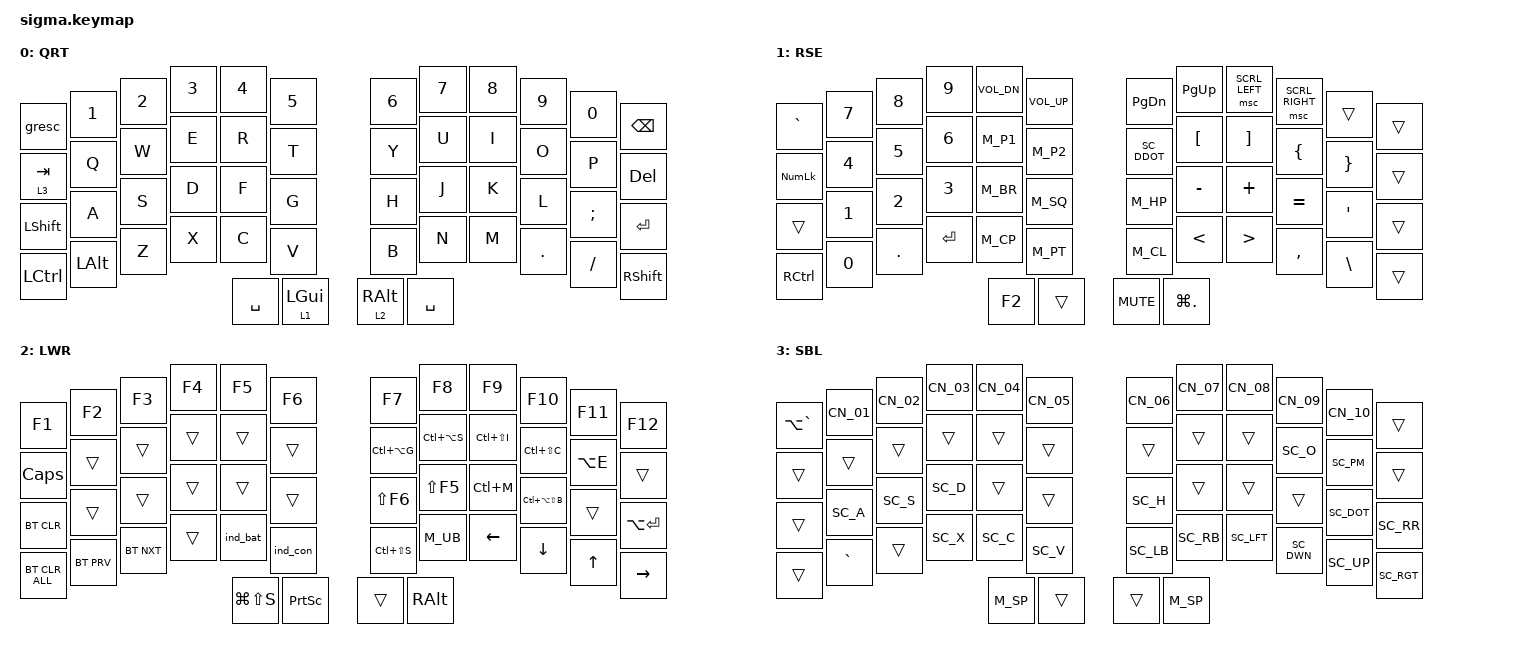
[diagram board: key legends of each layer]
#include <behaviors.dtsi>
#include <dt-bindings/zmk/bt.h>
#include <dt-bindings/zmk/keys.h>
#include <dt-bindings/zmk/pointing.h>
#include <behaviors/rgbled_widget.dtsi>

/ {
    macros {
        M_P1: M_P1 {
            compatible = "zmk,behavior-macro";
            #binding-cells = <0>;
            wait-ms = <1>;
            tap-ms = <1>;
            bindings = <&kp N &kp I &kp S &kp E &kp N &kp O &kp M &kp O &kp N &kp O &kp AT &kp N &kp A &kp V &kp E &kp R &kp DOT &kp C &kp O &kp M>;
            label = "M_P1";
        };

        M_P2: M_P2 {
            compatible = "zmk,behavior-macro";
            #binding-cells = <0>;
            wait-ms = <1>;
            tap-ms = <1>;
            bindings = <&kp LS(R) &kp E &kp LS(G) &kp E &kp N &kp LS(B) &kp O &kp T &kp N0 &kp N3>;
            label = "M_P2";
        };

        CN_01: CN_01 {
            compatible = "zmk,behavior-macro";
            #binding-cells = <0>;
            wait-ms = <1>;
            tap-ms = <1>;
            bindings = <&kp KP_NUMLOCK &kt LEFT_ALT &kp KP_NUMBER_4 &kp KP_NUMBER_3 &kp KP_NUMBER_2 &kp KP_NUMBER_3 &kp KP_NUMBER_9 &kt LEFT_ALT &kp KP_NUMLOCK>;
            label = "CN_01";
        };

        CN_02: CN_02 {
            compatible = "zmk,behavior-macro";
            #binding-cells = <0>;
            wait-ms = <1>;
            tap-ms = <1>;
            bindings = <&kp KP_NUMLOCK &kt LEFT_ALT &kp KP_NUMBER_4 &kp KP_NUMBER_3 &kp KP_NUMBER_2 &kp KP_NUMBER_4 &kp KP_NUMBER_0 &kt LEFT_ALT &kp KP_NUMLOCK>;
            label = "CN_02";
        };

        CN_03: CN_03 {
            compatible = "zmk,behavior-macro";
            #binding-cells = <0>;
            wait-ms = <1>;
            tap-ms = <1>;
            bindings = <&kp KP_NUMLOCK &kt LEFT_ALT &kp KP_NUMBER_4 &kp KP_NUMBER_3 &kp KP_NUMBER_2 &kp KP_NUMBER_4 &kp KP_NUMBER_1 &kt LEFT_ALT &kp KP_NUMLOCK>;
            label = "CN_03";
        };

        CN_04: CN_04 {
            compatible = "zmk,behavior-macro";
            #binding-cells = <0>;
            wait-ms = <1>;
            tap-ms = <1>;
            bindings = <&kp KP_NUMLOCK &kt LEFT_ALT &kp KP_NUMBER_4 &kp KP_NUMBER_3 &kp KP_NUMBER_2 &kp KP_NUMBER_4 &kp KP_NUMBER_2 &kt LEFT_ALT &kp KP_NUMLOCK>;
            label = "CN_04";
        };

        CN_05: CN_05 {
            compatible = "zmk,behavior-macro";
            #binding-cells = <0>;
            wait-ms = <1>;
            tap-ms = <1>;
            bindings = <&kp KP_NUMLOCK &kt LEFT_ALT &kp KP_NUMBER_4 &kp KP_NUMBER_3 &kp KP_NUMBER_2 &kp KP_NUMBER_4 &kp KP_NUMBER_3 &kt LEFT_ALT &kp KP_NUMLOCK>;
            label = "CN_05";
        };

        CN_06: CN_06 {
            compatible = "zmk,behavior-macro";
            #binding-cells = <0>;
            wait-ms = <1>;
            tap-ms = <1>;
            bindings = <&kp KP_NUMLOCK &kt LEFT_ALT &kp KP_NUMBER_4 &kp KP_NUMBER_3 &kp KP_NUMBER_2 &kp KP_NUMBER_4 &kp KP_NUMBER_4 &kt LEFT_ALT &kp KP_NUMLOCK>;
            label = "CN_06";
        };

        CN_07: CN_07 {
            compatible = "zmk,behavior-macro";
            #binding-cells = <0>;
            wait-ms = <1>;
            tap-ms = <1>;
            bindings = <&kp KP_NUMLOCK &kt LEFT_ALT &kp KP_NUMBER_4 &kp KP_NUMBER_3 &kp KP_NUMBER_2 &kp KP_NUMBER_4 &kp KP_NUMBER_5 &kt LEFT_ALT &kp KP_NUMLOCK>;
            label = "CN_07";
        };

        CN_08: CN_08 {
            compatible = "zmk,behavior-macro";
            #binding-cells = <0>;
            wait-ms = <1>;
            tap-ms = <1>;
            bindings = <&kp KP_NUMLOCK &kt LEFT_ALT &kp KP_NUMBER_4 &kp KP_NUMBER_3 &kp KP_NUMBER_2 &kp KP_NUMBER_4 &kp KP_NUMBER_6 &kt LEFT_ALT &kp KP_NUMLOCK>;
            label = "CN_08";
        };

        CN_09: CN_09 {
            compatible = "zmk,behavior-macro";
            #binding-cells = <0>;
            wait-ms = <1>;
            tap-ms = <1>;
            bindings = <&kp KP_NUMLOCK &kt LEFT_ALT &kp KP_NUMBER_4 &kp KP_NUMBER_3 &kp KP_NUMBER_2 &kp KP_NUMBER_4 &kp KP_NUMBER_7 &kt LEFT_ALT &kp KP_NUMLOCK>;
            label = "CN_09";
        };

        CN_10: CN_10 {
            compatible = "zmk,behavior-macro";
            #binding-cells = <0>;
            wait-ms = <1>;
            tap-ms = <1>;
            bindings = <&kp KP_NUMLOCK &kt LEFT_ALT &kp KP_NUMBER_4 &kp KP_NUMBER_3 &kp KP_NUMBER_2 &kp KP_NUMBER_4 &kp KP_NUMBER_8 &kt LEFT_ALT &kp KP_NUMLOCK>;
            label = "CN_10";
        };

        M_BR: M_BR {
            compatible = "zmk,behavior-macro";
            #binding-cells = <0>;
            wait-ms = <1>;
            tap-ms = <1>;
            bindings = <&kp LPAR &kp RPAR &kp LEFT>;
            label = "M_BR";
        };

        M_SQ: M_SQ {
            compatible = "zmk,behavior-macro";
            #binding-cells = <0>;
            wait-ms = <1>;
            tap-ms = <1>;
            bindings = <&kp LBKT &kp RBKT &kp LEFT>;
            label = "M_SQ";
        };

        M_HP: M_HP {
            compatible = "zmk,behavior-macro";
            #binding-cells = <0>;
            wait-ms = <1>;
            tap-ms = <1>;
            bindings = <&kp SPACE &kp MINUS &kp SPACE>;
            label = "M_HP";
        };

        M_CL: M_CL {
            compatible = "zmk,behavior-macro";
            #binding-cells = <0>;
            wait-ms = <1>;
            tap-ms = <1>;
            bindings = <&kp SPACE &kp COLON &kp SPACE>;
            label = "M_CL";
        };

        M_CP: M_CP {
            compatible = "zmk,behavior-macro";
            #binding-cells = <0>;
            wait-ms = <1>;
            tap-ms = <1>;
            bindings = <&kp F2 &kt LC(C) &kp ESCAPE>;
            label = "M_CP";
        };

        M_PT: M_PT {
            compatible = "zmk,behavior-macro";
            #binding-cells = <0>;
            wait-ms = <1>;
            tap-ms = <1>;
            bindings = <&kp F2 &kp LC(V) &kp ENTER>;
            label = "M_PT";
        };

        M_UB: M_UB {
            compatible = "zmk,behavior-macro";
            #binding-cells = <0>;
            wait-ms = <1>;
            tap-ms = <1>;
            bindings = <&kp RIGHT &kp LS(MINUS)>;
            label = "M_UB";
        };

        M_SP: M_SP {
            compatible = "zmk,behavior-macro";
            #binding-cells = <0>;
            wait-ms = <1>;
            tap-ms = <1>;
            bindings = <&kp SPACE &kp SPACE &kp SPACE &kp SPACE>;
            label = "M_SP";
        };

        SC_A: SC_A {
            compatible = "zmk,behavior-macro";
            #binding-cells = <0>;
            wait-ms = <1>;
            tap-ms = <1>;
            bindings = <&kp KP_NUMLOCK &kt LEFT_ALT &kp KP_NUMBER_0 &kp KP_NUMBER_1 &kp KP_NUMBER_9 &kp KP_NUMBER_7 &kt LEFT_ALT &kp KP_NUMLOCK>;
            label = "SC_A";
        };

        SC_S: SC_S {
            compatible = "zmk,behavior-macro";
            #binding-cells = <0>;
            wait-ms = <1>;
            tap-ms = <1>;
            bindings = <&kp KP_NUMLOCK &kt LEFT_ALT &kp KP_NUMBER_4 &kp KP_NUMBER_2 &kp KP_NUMBER_4 &kp KP_NUMBER_8 &kp KP_NUMBER_2 &kt LEFT_ALT &kp KP_NUMLOCK>;
            label = "SC_S";
        };

        SC_C: SC_C {
            compatible = "zmk,behavior-macro";
            #binding-cells = <0>;
            wait-ms = <1>;
            tap-ms = <1>;
            bindings = <&kp KP_NUMLOCK &kt LEFT_ALT &kp KP_NUMBER_0 &kp KP_NUMBER_1 &kp KP_NUMBER_7 &kp KP_NUMBER_6 &kt LEFT_ALT &kp KP_NUMLOCK>;
            label = "SC_C";
        };

        SC_V: SC_V {
            compatible = "zmk,behavior-macro";
            #binding-cells = <0>;
            wait-ms = <1>;
            tap-ms = <1>;
            bindings = <&kp KP_NUMLOCK &kt LEFT_ALT &kp KP_NUMBER_4 &kp KP_NUMBER_1 &kp KP_NUMBER_4 &kp KP_NUMBER_5 &kp KP_NUMBER_4 &kt LEFT_ALT &kp KP_NUMLOCK>;
            label = "SC_V";
        };

        SC_D: SC_D {
            compatible = "zmk,behavior-macro";
            #binding-cells = <0>;
            wait-ms = <1>;
            tap-ms = <1>;
            bindings = <&kp KP_NUMLOCK &kt LEFT_ALT &kp KP_NUMBER_4 &kp KP_NUMBER_2 &kp KP_NUMBER_4 &kp KP_NUMBER_3 &kp KP_NUMBER_6 &kt LEFT_ALT &kp KP_NUMLOCK>;
            label = "SC_D";
        };

        SC_R: SC_R {
            compatible = "zmk,behavior-macro";
            #binding-cells = <0>;
            wait-ms = <1>;
            tap-ms = <1>;
            bindings = <&kp KP_NUMLOCK &kt LEFT_ALT &kp KP_NUMBER_0 &kp KP_NUMBER_1 &kp KP_NUMBER_7 &kp KP_NUMBER_8 &kt LEFT_ALT &kp KP_NUMLOCK>;
            label = "SC_R";
        };

        SC_O: SC_O {
            compatible = "zmk,behavior-macro";
            #binding-cells = <0>;
            wait-ms = <1>;
            tap-ms = <1>;
            bindings = <&kp KP_NUMLOCK &kt LEFT_ALT &kp KP_NUMBER_4 &kp KP_NUMBER_2 &kp KP_NUMBER_4 &kp KP_NUMBER_5 &kp KP_NUMBER_6 &kt LEFT_ALT &kp KP_NUMLOCK>;
            label = "SC_O";
        };

        SC_X: SC_X {
            compatible = "zmk,behavior-macro";
            #binding-cells = <0>;
            wait-ms = <1>;
            tap-ms = <1>;
            bindings = <&kp KP_NUMLOCK &kt LEFT_ALT &kp KP_NUMBER_4 &kp KP_NUMBER_1 &kp KP_NUMBER_4 &kp KP_NUMBER_3 &kp KP_NUMBER_2 &kt LEFT_ALT &kp KP_NUMLOCK>;
            label = "SC_X";
        };

        SC_PM: SC_PM {
            compatible = "zmk,behavior-macro";
            #binding-cells = <0>;
            wait-ms = <1>;
            tap-ms = <1>;
            bindings = <&kp KP_NUMLOCK &kt LEFT_ALT &kp KP_NUMBER_0 &kp KP_NUMBER_1 &kp KP_NUMBER_7 &kp KP_NUMBER_7 &kt LEFT_ALT &kp KP_NUMLOCK>;
            label = "SC_PM";
        };

        SC_DOT: SC_DOT {
            compatible = "zmk,behavior-macro";
            #binding-cells = <0>;
            wait-ms = <1>;
            tap-ms = <1>;
            bindings = <&kp KP_NUMLOCK &kt LEFT_ALT &kp KP_NUMBER_0 &kp KP_NUMBER_1 &kp KP_NUMBER_8 &kp KP_NUMBER_3 &kt LEFT_ALT &kp KP_NUMLOCK>;
            label = "SC_DOT";
        };

        SC_DDOT: SC_DDOT {
            compatible = "zmk,behavior-macro";
            #binding-cells = <0>;
            wait-ms = <1>;
            tap-ms = <1>;
            bindings = <&kp KP_NUMLOCK &kt LEFT_ALT &kp KP_NUMBER_0 &kp KP_NUMBER_1 &kp KP_NUMBER_3 &kp KP_NUMBER_3 &kt LEFT_ALT &kp KP_NUMLOCK>;
            label = "SC_DDOT";
        };

        SC_RR: SC_RR {
            compatible = "zmk,behavior-macro";
            #binding-cells = <0>;
            wait-ms = <1>;
            tap-ms = <1>;
            bindings = <&kp KP_NUMLOCK &kt LEFT_ALT &kp KP_NUMBER_4 &kp KP_NUMBER_1 &kp KP_NUMBER_6 &kp KP_NUMBER_3 &kp KP_NUMBER_3 &kt LEFT_ALT &kp KP_NUMLOCK>;
            label = "SC_RR";
        };

        SC_LFT: SC_LFT {
            compatible = "zmk,behavior-macro";
            #binding-cells = <0>;
            wait-ms = <1>;
            tap-ms = <1>;
            bindings = <&kp KP_NUMLOCK &kt LEFT_ALT &kp KP_NUMBER_4 &kp KP_NUMBER_1 &kp KP_NUMBER_4 &kp KP_NUMBER_4 &kp KP_NUMBER_7 &kt LEFT_ALT &kp KP_NUMLOCK>;
            label = "SC_LFT";
        };

        SC_RGT: SC_RGT {
            compatible = "zmk,behavior-macro";
            #binding-cells = <0>;
            wait-ms = <1>;
            tap-ms = <1>;
            bindings = <&kp KP_NUMLOCK &kt LEFT_ALT &kp KP_NUMBER_4 &kp KP_NUMBER_1 &kp KP_NUMBER_4 &kp KP_NUMBER_4 &kp KP_NUMBER_6 &kt LEFT_ALT &kp KP_NUMLOCK>;
            label = "SC_RGT";
        };

        SC_UP: SC_UP {
            compatible = "zmk,behavior-macro";
            #binding-cells = <0>;
            wait-ms = <1>;
            tap-ms = <1>;
            bindings = <&kp KP_NUMLOCK &kt LEFT_ALT &kp KP_NUMBER_4 &kp KP_NUMBER_1 &kp KP_NUMBER_4 &kp KP_NUMBER_4 &kp KP_NUMBER_8 &kt LEFT_ALT &kp KP_NUMLOCK>;
            label = "SC_UP";
        };

        SC_DWN: SC_DWN {
            compatible = "zmk,behavior-macro";
            #binding-cells = <0>;
            wait-ms = <1>;
            tap-ms = <1>;
            bindings = <&kp KP_NUMLOCK &kt LEFT_ALT &kp KP_NUMBER_4 &kp KP_NUMBER_1 &kp KP_NUMBER_4 &kp KP_NUMBER_4 &kp KP_NUMBER_9 &kt LEFT_ALT &kp KP_NUMLOCK>;
            label = "SC_DWN";
        };

        SC_LB: SC_LB {
            compatible = "zmk,behavior-macro";
            #binding-cells = <0>;
            wait-ms = <1>;
            tap-ms = <1>;
            bindings = <&kp KP_NUMLOCK &kt LEFT_ALT &kp KP_NUMBER_4 &kp KP_NUMBER_1 &kp KP_NUMBER_4 &kp KP_NUMBER_0 &kp KP_NUMBER_2 &kt LEFT_ALT &kp KP_NUMLOCK>;
            label = "SC_LB";
        };

        SC_RB: SC_RB {
            compatible = "zmk,behavior-macro";
            #binding-cells = <0>;
            wait-ms = <1>;
            tap-ms = <1>;
            bindings = <&kp KP_NUMLOCK &kt LEFT_ALT &kp KP_NUMBER_4 &kp KP_NUMBER_1 &kp KP_NUMBER_4 &kp KP_NUMBER_0 &kp KP_NUMBER_3 &kt LEFT_ALT &kp KP_NUMLOCK>;
            label = "SC_RB";
        };

        SC_H: SC_H {
            compatible = "zmk,behavior-macro";
            #binding-cells = <0>;
            wait-ms = <1>;
            tap-ms = <1>;
            bindings = <&kp KP_NUMLOCK &kt LEFT_ALT &kp KP_NUMBER_4 &kp KP_NUMBER_1 &kp KP_NUMBER_6 &kp KP_NUMBER_9 &kp KP_NUMBER_2 &kt LEFT_ALT &kp KP_NUMLOCK>;
            label = "SC_H";
        };
    };

    keymap {
        compatible = "zmk,keymap";

        default_layer {
            display-name = "QRT";
            bindings = <
&gresc     &kp N1    &kp N2  &kp N3  &kp N4     &kp N5          &kp N6           &kp N7     &kp N8  &kp N9   &kp N0    &kp BSPC
&lt 3 TAB  &kp Q     &kp W   &kp E   &kp R      &kp T           &kp Y            &kp U      &kp I   &kp O    &kp P     &kp DEL
&kp LSHFT  &kp A     &kp S   &kp D   &kp F      &kp G           &kp H            &kp J      &kp K   &kp L    &kp SEMI  &kp RET
&kp LCTRL  &kp LALT  &kp Z   &kp X   &kp C      &kp V           &kp B            &kp N      &kp M   &kp DOT  &kp FSLH  &kp RSHFT
                                     &kp SPACE  &lt 1 LEFT_GUI  &lt 2 RIGHT_ALT  &kp SPACE
            >;
        };

        raise_layer {
            display-name = "RSE";
            bindings = <
&kp GRAVE          &kp N7  &kp N8   &kp N9     &kp C_VOL_DN  &kp C_VOL_UP  &kp PAGE_DOWN  &kp PAGE_UP       &msc SCRL_LEFT     &msc SCRL_RIGHT  &trans           &trans
&kp KP_NLCK        &kp N4  &kp N5   &kp N6     &M_P1         &M_P2         &SC_DDOT       &kp LEFT_BRACKET  &kp RIGHT_BRACKET  &kp LEFT_BRACE   &kp RIGHT_BRACE  &trans
&trans             &kp N1  &kp N2   &kp N3     &M_BR         &M_SQ         &M_HP          &kp MINUS         &kp PLUS           &kp EQUAL        &kp SQT          &trans
&kp RIGHT_CONTROL  &kp N0  &kp DOT  &kp ENTER  &M_CP         &M_PT         &M_CL          &kp LESS_THAN     &kp GREATER_THAN   &kp COMMA        &kp BSLH         &trans
                                               &kp F2        &trans        &kp C_MUTE     &kp LG(DOT)
            >;
        };

        lower_layer {
            display-name = "LWR";
            bindings = <
&kp F1          &kp F2      &kp F3      &kp F4  &kp F5         &kp F6           &kp F7         &kp F8         &kp F9         &kp F10            &kp F11    &kp F12
&kp CAPS        &trans      &trans      &trans  &trans         &trans           &kp LC(LA(G))  &kp LC(LA(S))  &kp LC(LS(I))  &kp LC(LS(C))      &kp LA(E)  &trans
&bt BT_CLR      &trans      &trans      &trans  &trans         &trans           &kp LS(F6)     &kp LS(F5)     &kp LC(M)      &kp LC(LA(LS(B)))  &trans     &kp LA(ENTER)
&bt BT_CLR_ALL  &bt BT_PRV  &bt BT_NXT  &trans  &ind_bat       &ind_con         &kp LC(LS(S))  &M_UB          &kp LEFT       &kp DOWN           &kp UP     &kp RIGHT
                                                &kp LG(LS(S))  &kp PRINTSCREEN  &trans         &kp RIGHT_ALT
            >;
        };

        symbol_layer {
            display-name = "SBL";
            bindings = <
&kp LA(GRAVE)  &CN_01     &CN_02  &CN_03  &CN_04  &CN_05  &CN_06  &CN_07  &CN_08   &CN_09   &CN_10   &trans
&trans         &trans     &trans  &trans  &trans  &trans  &trans  &trans  &trans   &SC_O    &SC_PM   &trans
&trans         &SC_A      &SC_S   &SC_D   &trans  &trans  &SC_H   &trans  &trans   &trans   &SC_DOT  &SC_RR
&trans         &kp GRAVE  &trans  &SC_X   &SC_C   &SC_V   &SC_LB  &SC_RB  &SC_LFT  &SC_DWN  &SC_UP   &SC_RGT
                                          &M_SP   &trans  &trans  &M_SP
            >;
        };
    };
};
